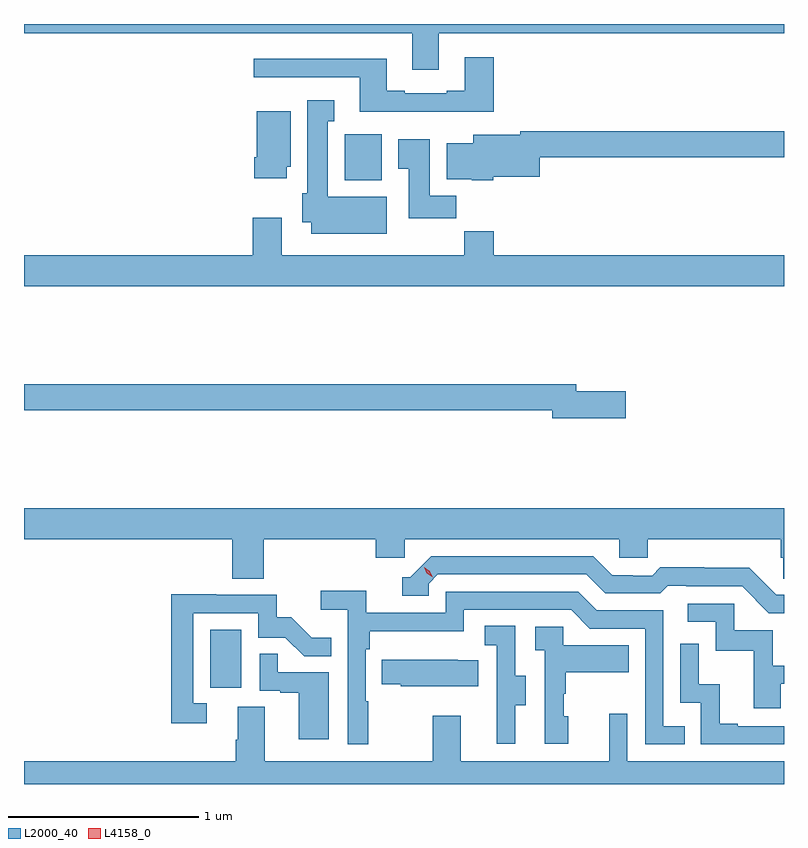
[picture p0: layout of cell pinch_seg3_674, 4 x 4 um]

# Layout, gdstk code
import gdstk
lib = gdstk.Library(unit=1e-6, precision=1e-09)
def R(c, l, rs):  # rectangles x0, y0, x1, y1
    for r in rs: c.add(gdstk.rectangle(r[:2], r[2:], *l))
def P(c, l, *ps):  # polygons
    for p in ps: c.add(gdstk.Polygon(p, *l))
L2000_40 = (2000, 40)
L4158_0 = (4158, 0)

pinch_seg3_674 = lib.new_cell('pinch_seg3_674')
R(pinch_seg3_674, L2000_40, [(1114.37,676.158,1114.534,676.465), (1115.078,678.83,1115.275,679.072)])
P(pinch_seg3_674, L2000_40, [(1113.391,679.604),(1115.435,679.604),(1115.435,679.41),(1115.575,679.41),(1115.575,679.604),(1117.391,679.604),(1117.391,679.652),(1113.391,679.652)],
  [(1115.864,679.477),(1115.711,679.477),(1115.711,679.3),(1115.615,679.3),(1115.615,679.287),(1115.395,679.287),(1115.395,679.3),(1115.299,679.3),(1115.299,679.468),(1114.599,679.468),(1114.599,679.371),(1115.159,679.371),(1115.159,679.19),(1115.864,679.19)],
  [(1115.299,678.742),(1114.99,678.742),(1114.99,679.139),(1115.023,679.139),(1115.023,679.252),(1114.883,679.252),(1114.883,678.762),(1114.856,678.762),(1114.856,678.608),(1114.904,678.608),(1114.904,678.548),(1115.299,678.548)],
  [(1114.774,678.9),(1114.795,678.9),(1114.795,679.192),(1114.616,679.192),(1114.616,678.952),(1114.604,678.952),(1114.604,678.84),(1114.774,678.84)],
  [(1115.862,678.848),(1116.106,678.848),(1116.106,678.952),(1117.391,678.952),(1117.391,679.088),(1116.002,679.088),(1116.002,679.069),(1115.756,679.069),(1115.756,679.024),(1115.615,679.024),(1115.615,678.836),(1115.748,678.836),(1115.748,678.83),(1115.862,678.83)],
  [(1115.666,678.748),(1115.527,678.748),(1115.527,679.045),(1115.36,679.045),(1115.36,678.889),(1115.417,678.889),(1115.417,678.63),(1115.666,678.63)],
  [(1117.391,678.436),(1115.864,678.436),(1115.864,678.56),(1115.707,678.56),(1115.707,678.436),(1114.747,678.436),(1114.747,678.631),(1114.595,678.631),(1114.595,678.436),(1113.391,678.436),(1113.391,678.272),(1117.391,678.272)],
  [(1116.559,677.72),(1116.298,677.72),(1116.298,677.756),(1113.391,677.756),(1113.391,677.62),(1116.17,677.62),(1116.17,677.578),(1116.559,677.578)],
  [(1114.652,676.94),(1115.243,676.94),(1115.243,676.842),(1115.394,676.842),(1115.394,676.94),(1116.525,676.94),(1116.525,676.842),(1116.675,676.842),(1116.675,676.94),(1117.373,676.94),(1117.373,676.842),(1117.387,676.842),(1117.387,676.732),(1117.391,676.732),(1117.391,677.104),(1113.391,677.104),(1113.391,676.94),(1114.487,676.94),(1114.487,676.732),(1114.652,676.732)],
  [(1117.391,676.647),(1117.35,676.647),(1117.208,676.789),(1116.972,676.789),(1116.972,676.792),(1116.739,676.792),(1116.697,676.749),(1116.594,676.749),(1116.594,676.752),(1116.487,676.752),(1116.388,676.851),(1115.535,676.851),(1115.424,676.74),(1115.381,676.74),(1115.381,676.644),(1115.52,676.644),(1115.52,676.707),(1115.568,676.755),(1116.351,676.755),(1116.45,676.656),(1116.739,676.656),(1116.778,676.695),(1116.877,676.695),(1116.877,676.692),(1117.17,676.692),(1117.311,676.551),(1117.391,676.551)],
  [(1115.203,676.088),(1115.19,676.088),(1115.19,676.361),(1115.21,676.361),(1115.21,676.457),(1115.706,676.457),(1115.706,676.569),(1116.27,676.569),(1116.369,676.47),(1116.66,676.47),(1116.66,675.861),(1116.869,675.861),(1116.869,675.957),(1116.756,675.957),(1116.756,676.566),(1116.406,676.566),(1116.307,676.665),(1115.61,676.665),(1115.61,676.554),(1115.192,676.554),(1115.192,676.67),(1114.953,676.67),(1114.953,676.568),(1115.094,676.568),(1115.094,675.861),(1115.203,675.861)],
  [(1114.354,676.077),(1114.281,676.077),(1114.281,676.551),(1114.623,676.551),(1114.623,676.422),(1114.767,676.422),(1114.865,676.324),(1115.009,676.324),(1115.009,676.423),(1114.905,676.423),(1114.798,676.53),(1114.722,676.53),(1114.722,676.647),(1114.403,676.647),(1114.403,676.652),(1114.165,676.652),(1114.165,675.972),(1114.354,675.972)],
  [(1117.375,676.179),(1117.391,676.179),(1117.391,676.275),(1117.333,676.275),(1117.333,676.461),(1117.128,676.461),(1117.128,676.602),(1116.885,676.602),(1116.885,676.506),(1117.032,676.506),(1117.032,676.353),(1117.231,676.353),(1117.231,676.05),(1117.375,676.05)],
  [(1115.977,676.066),(1116.031,676.066),(1116.031,676.221),(1115.976,676.221),(1115.976,676.484),(1115.817,676.484),(1115.817,676.381),(1115.88,676.381),(1115.88,676.077),(1115.879,676.077),(1115.879,675.864),(1115.977,675.864)],
  [(1116.256,676.008),(1116.231,676.008),(1116.231,676.127),(1116.241,676.127),(1116.241,676.241),(1116.575,676.241),(1116.575,676.381),(1116.228,676.381),(1116.228,676.479),(1116.081,676.479),(1116.081,676.355),(1116.132,676.355),(1116.132,675.864),(1116.256,675.864)],
  [(1117.391,675.957),(1117.147,675.957),(1117.147,675.97),(1117.052,675.97),(1117.052,676.178),(1116.942,676.178),(1116.942,676.39),(1116.846,676.39),(1116.846,676.08),(1116.954,676.08),(1116.954,675.861),(1117.391,675.861)],
  [(1114.996,676.239),(1114.727,676.239),(1114.727,676.337),(1114.632,676.337),(1114.632,676.143),(1114.739,676.143),(1114.739,676.131),(1114.838,676.131),(1114.838,675.888),(1114.996,675.888)],
  [(1115.783,676.303),(1115.675,676.303),(1115.675,676.306),(1115.275,676.306),(1115.275,676.177),(1115.373,676.177),(1115.373,676.166),(1115.783,676.166)],
  [(1117.391,675.772),(1116.567,675.772),(1116.567,676.021),(1116.47,676.021),(1116.47,675.772),(1115.689,675.772),(1115.689,676.012),(1115.542,676.012),(1115.542,675.772),(1114.657,675.772),(1114.657,676.058),(1114.517,676.058),(1114.517,675.884),(1114.505,675.884),(1114.505,675.772),(1113.391,675.772),(1113.391,675.652),(1117.391,675.652)])
P(pinch_seg3_674, L4158_0, [(1115.542,676.74),(1115.512,676.76),(1115.497,676.793),(1115.497,676.793),(1115.497,676.793),(1115.527,676.773),(1115.543,676.74),(1115.543,676.74)])

lib.write_gds('pinch_seg3_674.gds')
